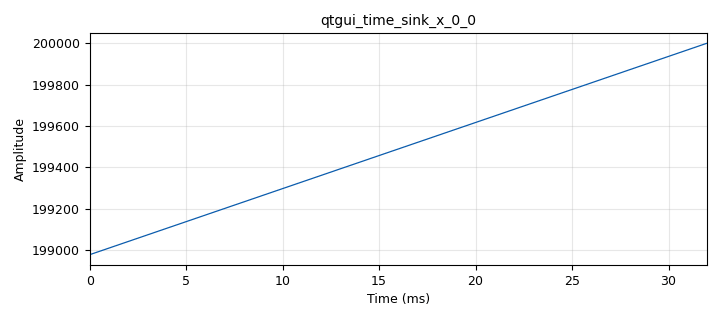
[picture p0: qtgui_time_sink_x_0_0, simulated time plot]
options:
  parameters:
    generate_options: qt_gui
    generator_class_name: PythonQtGuiGenerator
    generator_module: gnuradio.grc.workflows.python_qt_gui
    id: Acumulador
    output_language: python
    title: Not titled yet
  states: {}

blocks:
- name: samp_rate
  id: variable
  parameters:
    value: '32000'
  states: {}
- name: blocks_throttle2_0
  id: blocks_throttle2
  parameters:
    samples_per_second: samp_rate
    type: float
  states: {}
- name: blocks_vector_source_x_0
  id: blocks_vector_source_x
  parameters:
    repeat: 'True'
    type: float
    vector: (1, 1, 1)
  states: {}
- name: epy_block_0
  id: epy_block
  parameters:
    _source_code: |
      """
      Embedded Python Blocks:

      Each time this file is saved, GRC will instantiate the first class it finds
      to get ports and parameters of your block. The arguments to __init__  will
      be the parameters. All of them are required to have default values!
      """
      import numpy as np
      from gnuradio import gr

      class blk(gr.sync_block):
          def __init__(self):
              gr.sync_block.__init__(
                  self,
                  name='e_Acum',  # Comillas rectas corregidas
                  in_sig=[np.float32],
                  out_sig=[np.float32]
              )
              # Variable de estado para guardar el valor acumulado del bloque anterior
              self.last_val = 0.0

          def work(self, input_items, output_items):
              x = input_items[0]       # Señal de entrada
              y0 = output_items[0]     # Señal acumulada de salida
              
              if len(x) > 0:
                  # Calculamos la cumsum del bloque actual y le sumamos el arrastre del bloque anterior
                  y0[:] = np.cumsum(x) + self.last_val
                  # Actualizamos el estado con el último valor de este bloque para el siguiente
                  self.last_val = y0[-1]
                  
              return len(y0)  # Corregido de 'y' a 'y0' (o len(output_items[0]))
  states: {}
- name: qtgui_time_sink_x_0
  id: qtgui_time_sink_x
  parameters:
    autoscale: 'True'
    size: '1024'
    srate: samp_rate
    type: float
  states: {}
- name: qtgui_time_sink_x_0_0
  id: qtgui_time_sink_x
  parameters:
    autoscale: 'True'
    size: '1024'
    srate: samp_rate
    type: float
  states: {}

connections:
- [blocks_throttle2_0, '0', qtgui_time_sink_x_0_0, '0']
- [blocks_vector_source_x_0, '0', epy_block_0, '0']
- [blocks_vector_source_x_0, '0', qtgui_time_sink_x_0, '0']
- [epy_block_0, '0', blocks_throttle2_0, '0']

metadata:
  file_format: 1
  grc_version: 3.10.12.0
